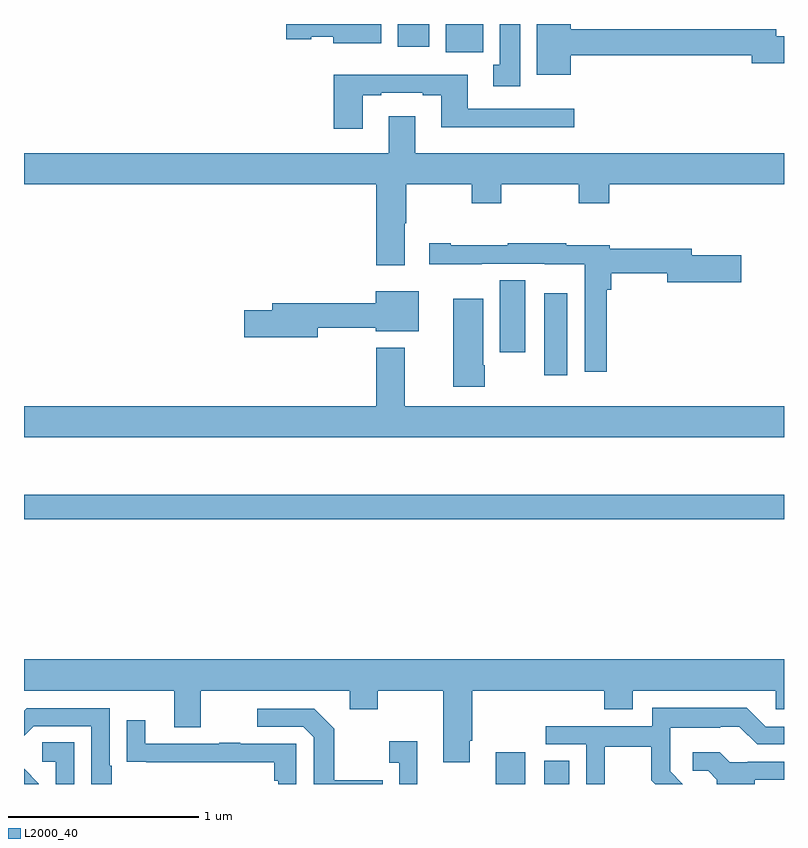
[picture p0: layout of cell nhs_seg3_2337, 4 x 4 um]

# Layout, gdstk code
import gdstk
lib = gdstk.Library(unit=1e-6, precision=1e-09)
def R(c, l, rs):  # rectangles x0, y0, x1, y1
    for r in rs: c.add(gdstk.rectangle(r[:2], r[2:], *l))
def P(c, l, *ps):  # polygons
    for p in ps: c.add(gdstk.Polygon(p, *l))
L2000_40 = (2000, 40)

nhs_seg3_2337 = lib.new_cell('nhs_seg3_2337')
R(nhs_seg3_2337, L2000_40, [(233.483,724.4,233.638,724.567), (233.738,724.4,233.869,724.523), (231,725.794,235,725.923), (233.738,726.552,233.86,726.982), (233.504,726.672,233.638,727.052), (233.219,728.252,233.416,728.4), (232.967,728.28,233.134,728.4)])
P(nhs_seg3_2337, L2000_40, [(232.879,728.4),(232.38,728.4),(232.38,728.321),(232.512,728.321),(232.512,728.333),(232.628,728.333),(232.628,728.3),(232.879,728.3)],
  [(233.611,728.4),(233.504,728.4),(233.504,728.186),(233.471,728.186),(233.471,728.073),(233.611,728.073)],
  [(233.878,728.236),(234.83,728.236),(234.83,728.194),(235,728.194),(235,728.336),(234.958,728.336),(234.958,728.372),(233.878,728.372),(233.878,728.4),(233.699,728.4),(233.699,728.132),(233.878,728.132)],
  [(232.783,728.025),(232.879,728.025),(232.879,728.037),(233.099,728.037),(233.099,728.025),(233.195,728.025),(233.195,727.856),(233.896,727.856),(233.896,727.953),(233.335,727.953),(233.335,728.134),(232.631,728.134),(232.631,727.848),(232.783,727.848)],
  [(233.005,727.352),(233.013,727.352),(233.013,727.556),(233.356,727.556),(233.356,727.457),(233.511,727.457),(233.511,727.556),(233.92,727.556),(233.92,727.457),(234.08,727.457),(234.08,727.556),(235,727.556),(235,727.72),(233.059,727.72),(233.059,727.915),(232.919,727.915),(232.919,727.72),(231,727.72),(231,727.556),(232.853,727.556),(232.853,727.131),(233.005,727.131)],
  [(234.068,727.001),(234.09,727.001),(234.09,727.087),(234.386,727.087),(234.386,727.04),(234.775,727.04),(234.775,727.182),(234.514,727.182),(234.514,727.216),(234.082,727.216),(234.082,727.236),(233.855,727.236),(233.855,727.246),(233.545,727.246),(233.545,727.236),(233.245,727.236),(233.245,727.246),(233.133,727.246),(233.133,727.136),(233.408,727.136),(233.408,727.137),(233.742,727.137),(233.742,727.136),(233.952,727.136),(233.952,726.57),(234.068,726.57)],
  [(232.546,726.801),(232.85,726.801),(232.85,726.782),(233.077,726.782),(233.077,726.994),(232.85,726.994),(232.85,726.929),(232.307,726.929),(232.307,726.893),(232.158,726.893),(232.158,726.751),(232.546,726.751)],
  [(233.424,726.604),(233.416,726.604),(233.416,726.955),(233.258,726.955),(233.258,726.492),(233.424,726.492)],
  [(235,726.388),(233.005,726.388),(233.005,726.697),(232.853,726.697),(232.853,726.388),(231,726.388),(231,726.224),(235,726.224)],
  [(233.347,724.627),(233.36,724.627),(233.36,724.892),(234.053,724.892),(234.053,724.793),(234.205,724.793),(234.205,724.892),(234.957,724.892),(234.957,724.794),(235,724.794),(235,725.056),(231,725.056),(231,724.892),(231.791,724.892),(231.791,724.698),(231.931,724.698),(231.931,724.892),(232.715,724.892),(232.715,724.793),(232.863,724.793),(232.863,724.892),(233.207,724.892),(233.207,724.515),(233.347,724.515)],
  [(234.057,724.596),(234.301,724.596),(234.301,724.421),(234.322,724.4),(234.466,724.4),(234.4,724.466),(234.4,724.563),(234.402,724.563),(234.402,724.697),(234.665,724.697),(234.665,724.701),(234.765,724.701),(234.858,724.608),(235,724.608),(235,724.701),(234.903,724.701),(234.803,724.801),(234.306,724.801),(234.306,724.704),(233.745,724.704),(233.745,724.608),(233.958,724.608),(233.958,724.4),(234.057,724.4)],
  [(231.463,724.495),(231.45,724.495),(231.45,724.8),(231.015,724.8),(231,724.785),(231,724.653),(231.051,724.704),(231.354,724.704),(231.354,724.4),(231.463,724.4)],
  [(232.889,724.419),(232.633,724.419),(232.633,724.691),(232.527,724.797),(232.227,724.797),(232.227,724.701),(232.47,724.701),(232.524,724.647),(232.524,724.4),(232.889,724.4)],
  [(232.434,724.611),(232.139,724.611),(232.139,724.616),(232.027,724.616),(232.027,724.611),(231.637,724.611),(231.637,724.735),(231.541,724.735),(231.541,724.516),(231.643,724.516),(231.643,724.515),(232.318,724.515),(232.318,724.418),(232.338,724.418),(232.338,724.4),(232.434,724.4)],
  [(233.07,724.624),(232.923,724.624),(232.923,724.511),(232.974,724.511),(232.974,724.4),(233.07,724.4)],
  [(231.264,724.619),(231.096,724.619),(231.096,724.518),(231.168,724.518),(231.168,724.4),(231.264,724.4)],
  [(234.847,724.422),(235,724.422),(235,724.518),(234.808,724.518),(234.808,724.515),(234.714,724.515),(234.662,724.567),(234.519,724.567),(234.519,724.47),(234.6,724.47),(234.647,724.423),(234.647,724.4),(234.847,724.4)],
  [(231.078,724.402),(231,724.48),(231,724.4),(231.078,724.4)])

lib.write_gds('nhs_seg3_2337.gds')
